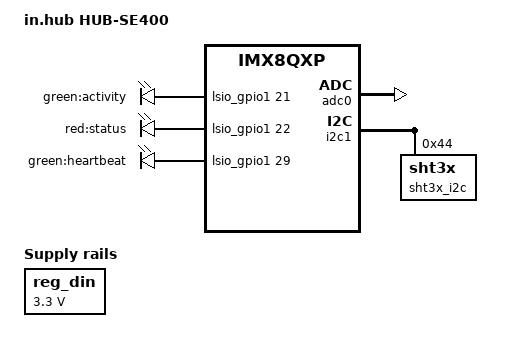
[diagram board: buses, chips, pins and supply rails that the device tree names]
// SPDX-License-Identifier: GPL-2.0-only
/*
 * Copyright 2026 in.hub GmbH
 */

/dts-v1/;

#include "imx8qxp-colibri-inhub.dtsi"

/ {
	model = "in.hub HUB-SE400";
	compatible = "inhub,hub-se400", "fsl,imx8qxp";

	leds {
		compatible = "gpio-leds";
		pinctrl-names = "default";
		pinctrl-0 = <&pinctrl_leds>;

		led_green_activity: green-activity {
			label = "green:activity";
			gpios = <&lsio_gpio1 21 0x0>;
			default-state = "off";
		};

		led_red_status: red-status {
			label = "red:status";
			gpios = <&lsio_gpio1 22 0x0>;
			default-state = "off";
		};

		led_green_heartbeat: green-heartbeat {
			label = "green:heartbeat";
			gpios = <&lsio_gpio1 29 0x0>;
			linux,default-trigger = "timer";
		};
	};

	reg_din: regulator-din {
		compatible = "regulator-fixed";
		regulator-name = "digital-in";
		regulator-min-microvolt = <3300000>;
		regulator-max-microvolt = <3300000>;
		regulator-always-on;
		pinctrl-names = "default";
		pinctrl-0 = <&pinctrl_gpio_din>;
	};

};

&iomuxc {
	pinctrl_leds: ledsgrp {
		fsl,pins = <
			IMX8QXP_MIPI_DSI1_I2C0_SCL_LSIO_GPIO1_IO29	0x00000040 /* SODIMM 186 - led_green_heartbeat */
			IMX8QXP_UART0_RX_LSIO_GPIO1_IO21			0x00000040	/* SODIMM 36 / led_green_activity */
			IMX8QXP_UART0_TX_LSIO_GPIO1_IO22			0x00000040 /* SODIMM 38 - led_red_status */
		>;
	};

	pinctrl_gpio_din: dingrp {
		fsl,pins = <
			IMX8QXP_FLEXCAN0_RX_LSIO_GPIO1_IO15		0x20	/* SODIMM 34 - DIN */
		>;
	};
};

&adc0 {
	status = "okay";
};

&fec1 {
	status = "disabled";
};

&fec2 {
	status = "disabled";
};

&lsio_gpio1 {
	gpio-line-names = "",
			  "",
			  "",
			  "",
			  "",
			  "",
			  "",
			  "",
			  "",
			  "",
			  "",
			  "",
			  "",
			  "",
			  "",
			  "DIN",
			  "",
			  "",
			  "",
			  "",
			  "",
			  "LED_GREEN_ACTIVITY",
			  "LED_RED_STATUS",
			  "",
			  "",
			  "",
			  "",
			  "",
			  "",
			  "LED_GREEN_HEARTBEAT";
};

&i2c1 {
	status = "okay";

	sht3x_i2c: sht@44 {
		compatible = "sht3x";
		reg = <0x44>;
	};
};
